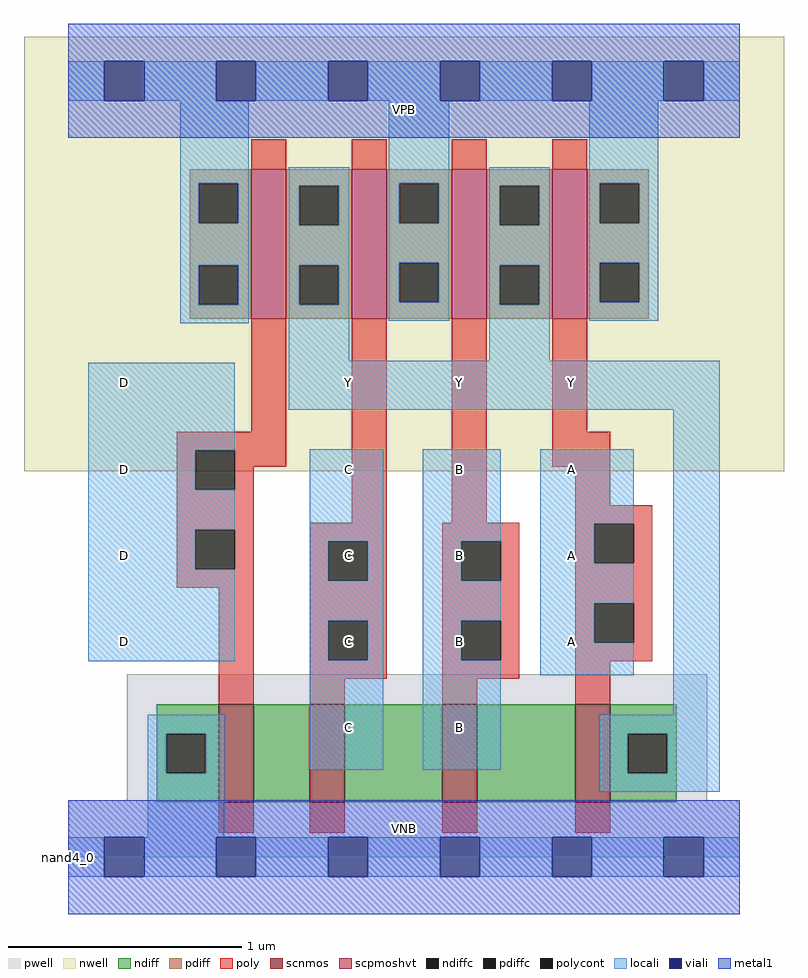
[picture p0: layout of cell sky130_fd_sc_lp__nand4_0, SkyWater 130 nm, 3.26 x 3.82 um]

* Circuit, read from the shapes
.subckt sky130_fd_sc_lp__nand4_0 A B C D VGND VNB VPB VPWR Y
XM1 n1 D VGND VNB sky130_fd_pr__nfet_01v8 w=0.42 l=0.15
XM2 n2 C n1 VNB sky130_fd_pr__nfet_01v8 w=0.42 l=0.15
XM3 n3 B n2 VNB sky130_fd_pr__nfet_01v8 w=0.42 l=0.15
XM4 Y A n3 VNB sky130_fd_pr__nfet_01v8 w=0.42 l=0.15
XM5 Y D VPWR VPB sky130_fd_pr__pfet_01v8_hvt w=0.64 l=0.15
XM6 VPWR C Y VPB sky130_fd_pr__pfet_01v8_hvt w=0.64 l=0.15
XM7 Y B VPWR VPB sky130_fd_pr__pfet_01v8_hvt w=0.64 l=0.15
XM8 VPWR A Y VPB sky130_fd_pr__pfet_01v8_hvt w=0.64 l=0.15
.ends

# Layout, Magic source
magic
tech sky130A
magscale 1 2
<< nwell >>
rect -38 331 614 704
<< pwell >>
rect 50 49 548 157
rect 0 0 576 49
<< scnmos >>
rect 129 47 159 131
rect 207 47 237 131
rect 321 47 351 131
rect 435 47 465 131
<< scpmoshvt >>
rect 157 462 187 590
rect 243 462 273 590
rect 329 462 359 590
rect 415 462 445 590
<< ndiff >>
rect 76 106 129 131
rect 76 72 84 106
rect 118 72 129 106
rect 76 47 129 72
rect 159 47 207 131
rect 237 47 321 131
rect 351 47 435 131
rect 465 106 522 131
rect 465 72 480 106
rect 514 72 522 106
rect 465 47 522 72
<< pdiff >>
rect 104 578 157 590
rect 104 544 112 578
rect 146 544 157 578
rect 104 508 157 544
rect 104 474 112 508
rect 146 474 157 508
rect 104 462 157 474
rect 187 576 243 590
rect 187 542 198 576
rect 232 542 243 576
rect 187 508 243 542
rect 187 474 198 508
rect 232 474 243 508
rect 187 462 243 474
rect 273 578 329 590
rect 273 544 284 578
rect 318 544 329 578
rect 273 510 329 544
rect 273 476 284 510
rect 318 476 329 510
rect 273 462 329 476
rect 359 576 415 590
rect 359 542 370 576
rect 404 542 415 576
rect 359 508 415 542
rect 359 474 370 508
rect 404 474 415 508
rect 359 462 415 474
rect 445 578 498 590
rect 445 544 456 578
rect 490 544 498 578
rect 445 510 498 544
rect 445 476 456 510
rect 490 476 498 510
rect 445 462 498 476
<< ndiffc >>
rect 84 72 118 106
rect 480 72 514 106
<< pdiffc >>
rect 112 544 146 578
rect 112 474 146 508
rect 198 542 232 576
rect 198 474 232 508
rect 284 544 318 578
rect 284 476 318 510
rect 370 542 404 576
rect 370 474 404 508
rect 456 544 490 578
rect 456 476 490 510
<< poly >>
rect 157 590 187 616
rect 243 590 273 616
rect 329 590 359 616
rect 415 590 445 616
rect 157 365 187 462
rect 93 349 187 365
rect 93 315 109 349
rect 143 335 187 349
rect 143 315 159 335
rect 93 281 159 315
rect 243 287 273 462
rect 329 287 359 462
rect 415 365 445 462
rect 415 335 465 365
rect 435 302 465 335
rect 93 247 109 281
rect 143 247 159 281
rect 93 231 159 247
rect 129 131 159 231
rect 207 271 273 287
rect 207 237 223 271
rect 257 237 273 271
rect 207 203 273 237
rect 207 169 223 203
rect 257 169 273 203
rect 207 153 273 169
rect 321 271 387 287
rect 321 237 337 271
rect 371 237 387 271
rect 321 203 387 237
rect 321 169 337 203
rect 371 169 387 203
rect 321 153 387 169
rect 435 286 501 302
rect 435 252 451 286
rect 485 252 501 286
rect 435 218 501 252
rect 435 184 451 218
rect 485 184 501 218
rect 435 168 501 184
rect 207 131 237 153
rect 321 131 351 153
rect 435 131 465 168
rect 129 21 159 47
rect 207 21 237 47
rect 321 21 351 47
rect 435 21 465 47
<< polycont >>
rect 109 315 143 349
rect 109 247 143 281
rect 223 237 257 271
rect 223 169 257 203
rect 337 237 371 271
rect 337 169 371 203
rect 451 252 485 286
rect 451 184 485 218
<< locali >>
rect 0 649 31 683
rect 65 649 127 683
rect 161 649 223 683
rect 257 649 319 683
rect 353 649 415 683
rect 449 649 511 683
rect 545 649 576 683
rect 96 578 155 649
rect 96 544 112 578
rect 146 544 155 578
rect 96 508 155 544
rect 96 474 112 508
rect 146 474 155 508
rect 96 458 155 474
rect 189 576 241 592
rect 189 542 198 576
rect 232 542 241 576
rect 189 508 241 542
rect 189 474 198 508
rect 232 474 241 508
rect 189 426 241 474
rect 275 578 327 649
rect 275 544 284 578
rect 318 544 327 578
rect 275 510 327 544
rect 275 476 284 510
rect 318 476 327 510
rect 275 460 327 476
rect 361 576 413 592
rect 361 542 370 576
rect 404 542 413 576
rect 361 508 413 542
rect 361 474 370 508
rect 404 474 413 508
rect 361 426 413 474
rect 447 578 506 649
rect 447 544 456 578
rect 490 544 506 578
rect 447 510 506 544
rect 447 476 456 510
rect 490 476 506 510
rect 447 460 506 476
rect 17 349 143 424
rect 189 384 559 426
rect 17 315 109 349
rect 17 281 143 315
rect 17 247 109 281
rect 17 168 143 247
rect 207 271 270 350
rect 207 237 223 271
rect 257 237 270 271
rect 207 203 270 237
rect 207 169 223 203
rect 257 169 270 203
rect 68 106 134 122
rect 68 72 84 106
rect 118 72 134 106
rect 207 75 270 169
rect 304 271 371 350
rect 304 237 337 271
rect 304 203 371 237
rect 304 169 337 203
rect 304 75 371 169
rect 405 286 485 350
rect 405 252 451 286
rect 405 218 485 252
rect 405 184 451 218
rect 405 156 485 184
rect 519 122 559 384
rect 456 106 559 122
rect 68 17 134 72
rect 456 72 480 106
rect 514 72 559 106
rect 456 56 559 72
rect 0 -17 31 17
rect 65 -17 127 17
rect 161 -17 223 17
rect 257 -17 319 17
rect 353 -17 415 17
rect 449 -17 511 17
rect 545 -17 576 17
<< viali >>
rect 31 649 65 683
rect 127 649 161 683
rect 223 649 257 683
rect 319 649 353 683
rect 415 649 449 683
rect 511 649 545 683
rect 31 -17 65 17
rect 127 -17 161 17
rect 223 -17 257 17
rect 319 -17 353 17
rect 415 -17 449 17
rect 511 -17 545 17
<< metal1 >>
rect 0 683 576 715
rect 0 649 31 683
rect 65 649 127 683
rect 161 649 223 683
rect 257 649 319 683
rect 353 649 415 683
rect 449 649 511 683
rect 545 649 576 683
rect 0 617 576 649
rect 0 17 576 49
rect 0 -17 31 17
rect 65 -17 127 17
rect 161 -17 223 17
rect 257 -17 319 17
rect 353 -17 415 17
rect 449 -17 511 17
rect 545 -17 576 17
rect 0 -49 576 -17
<< labels >>
flabel pwell s 0 0 576 49 0 FreeSans 200 0 0 0 VNB
port 6 nsew ground bidirectional
flabel nwell s 0 617 576 666 0 FreeSans 200 0 0 0 VPB
port 7 nsew power bidirectional
rlabel comment s 0 0 0 0 4 nand4_0
flabel metal1 s 0 617 576 666 0 FreeSans 340 0 0 0 VPWR
port 8 nsew power bidirectional
flabel metal1 s 0 0 576 49 0 FreeSans 340 0 0 0 VGND
port 5 nsew ground bidirectional
flabel locali s 415 168 449 202 0 FreeSans 340 0 0 0 A
port 1 nsew signal input
flabel locali s 415 242 449 276 0 FreeSans 340 0 0 0 A
port 1 nsew signal input
flabel locali s 415 316 449 350 0 FreeSans 340 0 0 0 A
port 1 nsew signal input
flabel locali s 319 94 353 128 0 FreeSans 340 0 0 0 B
port 2 nsew signal input
flabel locali s 319 168 353 202 0 FreeSans 340 0 0 0 B
port 2 nsew signal input
flabel locali s 319 242 353 276 0 FreeSans 340 0 0 0 B
port 2 nsew signal input
flabel locali s 319 316 353 350 0 FreeSans 340 0 0 0 B
port 2 nsew signal input
flabel locali s 223 94 257 128 0 FreeSans 340 0 0 0 C
port 3 nsew signal input
flabel locali s 223 168 257 202 0 FreeSans 340 0 0 0 C
port 3 nsew signal input
flabel locali s 223 242 257 276 0 FreeSans 340 0 0 0 C
port 3 nsew signal input
flabel locali s 223 316 257 350 0 FreeSans 340 0 0 0 C
port 3 nsew signal input
flabel locali s 31 168 65 202 0 FreeSans 340 0 0 0 D
port 4 nsew signal input
flabel locali s 31 242 65 276 0 FreeSans 340 0 0 0 D
port 4 nsew signal input
flabel locali s 31 316 65 350 0 FreeSans 340 0 0 0 D
port 4 nsew signal input
flabel locali s 31 390 65 424 0 FreeSans 340 0 0 0 D
port 4 nsew signal input
flabel locali s 223 390 257 424 0 FreeSans 340 0 0 0 Y
port 9 nsew signal output
flabel locali s 319 390 353 424 0 FreeSans 340 0 0 0 Y
port 9 nsew signal output
flabel locali s 415 390 449 424 0 FreeSans 340 0 0 0 Y
port 9 nsew signal output
<< properties >>
string LEFsite unit
string LEFclass CORE
string FIXED_BBOX 0 0 576 666
string GDS_FILE $PDKPATH/libs.ref/sky130_fd_sc_lp/gds/sky130_fd_sc_lp.gds
string LEFsymmetry X Y R90
string GDS_END 4607888
string GDS_START 4601030
<< end >>
